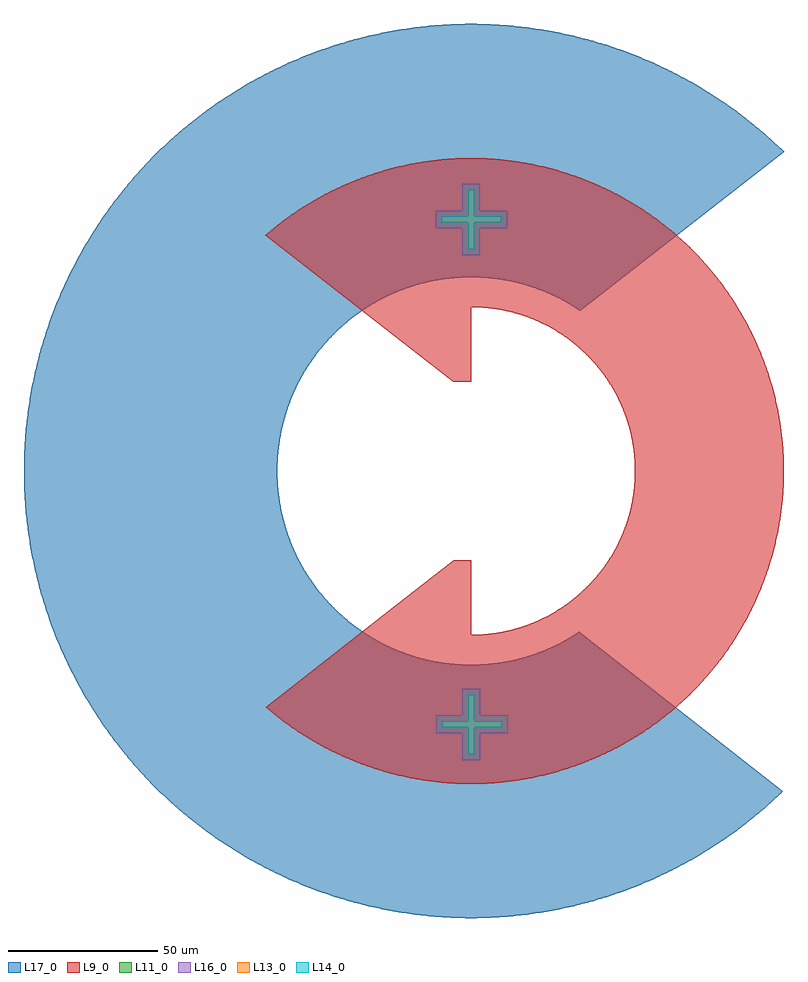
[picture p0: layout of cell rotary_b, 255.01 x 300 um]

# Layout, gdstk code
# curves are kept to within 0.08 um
import gdstk
lib = gdstk.Library(unit=1e-6, precision=1e-09)
def R(c, l, rs):  # rectangles x0, y0, x1, y1
    for r in rs: c.add(gdstk.rectangle(r[:2], r[2:], *l))
def P(c, l, *ps):  # polygons
    for p in ps: c.add(gdstk.Polygon(p, *l))
L9_0 = (9, 0)
L11_0 = (11, 0)
L13_0 = (13, 0)
L14_0 = (14, 0)
L16_0 = (16, 0)
L17_0 = (17, 0)

contact_cross = lib.new_cell('contact_cross')
R(contact_cross, L9_0, [(0,0,30,30)])
R(contact_cross, L11_0, [(11.8,3,17.8,27), (3,12,27,18)])
R(contact_cross, L13_0, [(13.8,5,15.8,25), (5,14,25,16)])
R(contact_cross, L14_0, [(13.8,5,15.8,25), (5,14,25,16)])
R(contact_cross, L16_0, [(11.8,3,17.8,27), (3,12,27,18)])
R(contact_cross, L17_0, [(0,0,30,30)])

rotary_b = lib.new_cell('rotary_b')
P(rotary_b, L9_0, [(21.07,-54.746),(16.678,-56.072),(11.945,-57.068),(7.487,-57.617),(3,-57.8),(3,-32.8),(-2.819,-32.8),(-22.39,-48.098),(-22.39,-104.683),(-17.323,-105.815),(-11.468,-106.798),(-6.224,-107.394),(-0.957,-107.725),(4.319,-107.792),(10.251,-107.549),(15.505,-107.053),(21.07,-106.233)],
  [(-22.39,-48.098),(-65.853,-82.073),(-60.833,-86.169),(-56.019,-89.643),(-50.449,-93.178),(-45.256,-96.054),(-39.908,-98.633),(-33.806,-101.138),(-28.189,-103.061),(-22.39,-104.683)],
  [(94.378,-54.52),(21.708,-54.52),(21.07,-54.746),(21.07,-106.233),(26.548,-105.125),(32.294,-103.631),(37.946,-101.814),(43.486,-99.681),(48.897,-97.238),(54.161,-94.493),(58.704,-91.806),(63.645,-88.516),(68.393,-84.951),(72.438,-81.562),(76.778,-77.511),(80.883,-73.222),(84.739,-68.708),(88.333,-63.983),(91.299,-59.618)],
  [(108,-2.8),(64.85,-2.8),(64.85,-54.52),(94.378,-54.52),(97.438,-48.697),(100.382,-42.066),(102.655,-35.874),(104.535,-29.551),(106.015,-23.123),(107.172,-15.96),(107.793,-9.393)],
  [(64.85,-2.8),(58,-2.8),(57.787,-7.632),(57.151,-12.426),(56.096,-17.146),(54.748,-21.431),(52.912,-25.905),(50.689,-30.2),(48.097,-34.284),(45.157,-38.124),(42.617,-40.951),(40.143,-43.363),(37.523,-45.615),(34.484,-47.897),(31.294,-49.964),(28.277,-51.648),(24.843,-53.277),(21.708,-54.52),(64.85,-54.52)],
  [(20.98,100.649),(15.505,101.453),(10.251,101.949),(4.319,102.192),(-0.957,102.125),(-6.881,101.734),(-12.121,101.105),(-17.323,100.215),(-22.53,99.049),(-22.53,42.396),(-3.025,27.2),(3,27.2),(3,52.2),(7.487,52.017),(11.945,51.468),(16.343,50.557),(20.98,49.178)],
  [(-22.53,99.049),(-28.819,97.263),(-34.423,95.305),(-39.908,93.033),(-45.841,90.149),(-51.581,86.899),(-56.563,83.671),(-61.355,80.166),(-66.049,76.302),(-22.53,42.396)],
  [(94.373,48.929),(91.299,54.018),(88.333,58.383),(84.739,63.108),(80.883,67.622),(76.778,71.911),(72.438,75.962),(68.393,79.351),(63.645,82.916),(58.704,86.206),(54.161,88.893),(48.897,91.638),(43.486,94.081),(37.946,96.214),(32.294,98.031),(26.548,99.525),(20.98,100.649),(20.98,49.178),(21.683,48.929)],
  [(108,-2.8),(107.793,3.793),(107.172,10.36),(106.015,17.523),(104.535,23.951),(102.655,30.274),(100.382,36.466),(97.438,43.097),(94.373,48.929),(64.84,48.929),(64.84,-2.8)],
  [(64.84,48.929),(21.683,48.929),(25.791,47.256),(29.496,45.397),(33.052,43.264),(36.71,40.659),(39.888,37.996),(42.856,35.101),(45.598,31.991),(48.097,28.684),(50.341,25.197),(52.315,21.552),(54.138,17.447),(55.518,13.537),(56.599,9.535),(57.376,5.462),(57.844,1.343),(58,-2.8),(64.84,-2.8)])
P(rotary_b, L17_0, [(-19.663,-76.94),(-127.396,-76.94),(-123.142,-83.968),(-118.353,-90.968),(-113.175,-97.686),(-107.627,-104.1),(-101.725,-110.19),(-95.488,-115.938),(-88.936,-121.323),(-82.09,-126.33),(-74.973,-130.942),(-67.606,-135.144),(-60.013,-138.923),(-52.219,-142.266),(-44.248,-145.164),(-36.126,-147.607),(-27.879,-149.587),(-19.663,-151.078)],
  [(-19.663,-63.721),(-24.306,-61.786),(-28.671,-59.562),(-32.857,-57.015),(-36.839,-54.16),(-40.595,-51.013),(-44.102,-47.592),(-47.343,-43.917),(-50.297,-40.008),(-52.948,-35.888),(-55.282,-31.579),(-57.284,-27.107),(-58.944,-22.497),(-60.251,-17.775),(-61.2,-12.968),(-61.783,-8.103),(-62,-2.8),(-83.333,-2.8),(-83.333,-76.94),(-19.663,-76.94)],
  [(-83.333,-2.8),(-147,-2.8),(-146.926,-7.512),(-146.642,-13.159),(-145.696,-22.535),(-144.164,-31.832),(-142.05,-41.016),(-140.507,-46.455),(-139.065,-50.942),(-135.762,-59.767),(-131.911,-68.367),(-127.396,-76.94),(-83.333,-76.94)],
  [(107.667,-110.246),(43.997,-60.384),(43.997,-147.089),(52.923,-144.249),(61.706,-140.835),(69.414,-137.296),(77.728,-132.861),(85.747,-127.912),(93.439,-122.469),(100.775,-116.554)],
  [(43.997,-60.384),(39.31,-56.713),(35.736,-58.955),(31.779,-61.082),(27.686,-62.93),(23.474,-64.491),(19.165,-65.758),(15.18,-66.649),(10.741,-67.337),(6.266,-67.718),(3,-67.8),(-0.266,-67.718),(-3.93,-67.43),(-7.168,-67),(-10.381,-66.408),(-13.56,-65.655),(-19.663,-63.721),(-19.663,-104.753),(43.997,-104.753)],
  [(43.997,-104.753),(-19.663,-104.753),(-19.663,-151.078),(-12.054,-152.043),(-3.595,-152.655),(3.942,-152.797),(12.419,-152.504),(19.928,-151.842),(28.325,-150.647),(35.721,-149.188),(43.997,-147.089)],
  [(-19.497,145.504),(-27.879,143.987),(-36.126,142.007),(-44.248,139.564),(-52.219,136.666),(-60.013,133.323),(-67.606,129.544),(-74.973,125.342),(-82.09,120.73),(-88.936,115.723),(-95.488,110.338),(-101.725,104.59),(-107.627,98.5),(-113.175,92.086),(-118.353,85.368),(-123.142,78.368),(-127.388,71.354),(-19.497,71.354)],
  [(-19.497,71.354),(-83.247,71.354),(-83.247,-2.8),(-62,-2.8),(-61.872,1.281),(-61.435,5.752),(-60.691,10.181),(-59.75,14.155),(-58.429,18.448),(-56.974,22.263),(-55.282,25.979),(-53.36,29.582),(-50.297,34.408),(-47.083,38.633),(-43.25,42.872),(-39.059,46.759),(-34.542,50.262),(-29.736,53.355),(-24.676,56.014),(-19.497,58.183)],
  [(-83.247,71.354),(-127.388,71.354),(-131.911,62.767),(-135.762,54.167),(-139.065,45.342),(-140.507,40.855),(-142.05,35.416),(-144.164,26.232),(-145.696,16.935),(-146.642,7.559),(-146.926,1.912),(-147,-2.8),(-83.247,-2.8)],
  [(108.013,104.307),(101.488,110.338),(94.19,116.299),(86.531,121.789),(78.543,126.789),(70.257,131.276),(61.706,135.235),(52.923,138.649),(44.253,141.415),(44.253,54.532)],
  [(44.253,141.415),(36.641,143.379),(28.325,145.047),(19.928,146.242),(12.419,146.904),(3.942,147.197),(-3.595,147.055),(-12.054,146.443),(-19.497,145.504),(-19.497,99.05),(44.253,99.05)],
  [(44.253,99.05),(-19.497,99.05),(-19.497,58.183),(-15.526,59.504),(-11.975,60.451),(-8.376,61.197),(-4.336,61.785),(-0.266,62.118),(3.408,62.199),(7.081,62.072),(10.741,61.737),(14.376,61.197),(18.372,60.356),(22.308,59.266),(25.785,58.076),(29.189,56.691),(32.873,54.929),(36.439,52.939),(39.611,50.908),(44.253,54.532)])
rotary_b.add(gdstk.Reference(contact_cross, (-11.7,-102.8)))
rotary_b.add(gdstk.Reference(contact_cross, (-11.8,66.6)))

lib.write_gds('rotary_b.gds')
